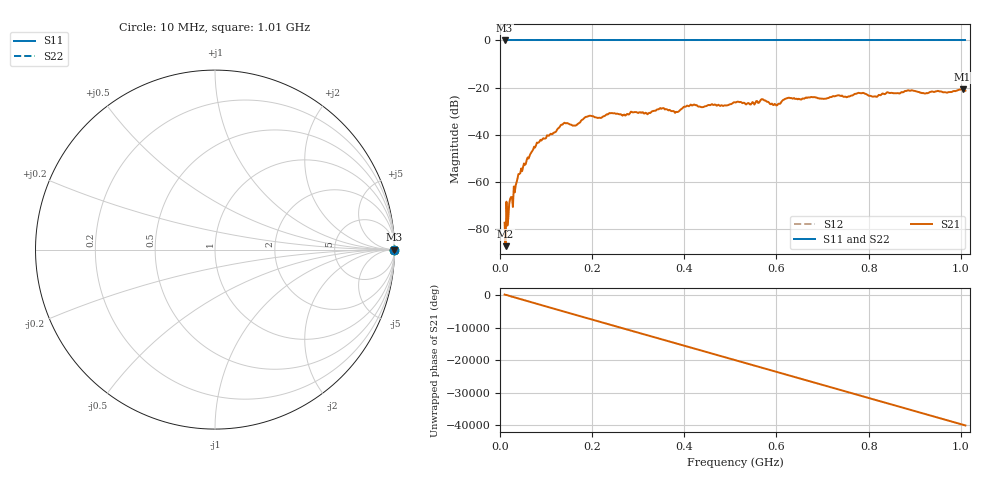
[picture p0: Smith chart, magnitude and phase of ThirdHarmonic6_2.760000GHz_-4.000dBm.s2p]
! 8/17/2025 6:57:24 AM
! C:\ANRITSUVNA\TEMP\TEMP.S2P
! CHANNEL.1
! TR.MEASUREMENT
! RAW.DATA
! RF.CORRECTION.OFF
! AVERAGING.OFF
! IF.BANDWIDTH: 5KHZ
! SWEEPTYPE:  FREQ.SWEEP(Linear)
! Reference Plane Port Info
! PORT:  PORT1  PORT2
! DISTANCE:  0  m  0  m
! TIME:  0  s  0  s
! PHASE.OFFSET:  0  deg.  0  deg.
! LOSS:  0  dB  0  dB
! REF.LOSS:  0  dB  0  dB
! REF.FREQ:  0  Hz  0  Hz
! Power Info
! POWER:  -20  dBm  -20  dBm
! EFF.POWER:  -20  dBm  -20  dBm
! SOURCE.ATTEN:  0  dB  0  dB
! TEST.ATTEN:  0  dB  0  dB
# GHZ S RI R 50.0
! FREQ.GHZ  S11RE  S11IM  S21RE  S21IM  S12RE  S12IM  S22RE  S22IM
!; PortSelection: Port_12
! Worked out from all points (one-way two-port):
!   501 points, 10 MHz to 1.01 GHz, reference 50 ohm
!   highest |S21| = -20.68 dB at 1.004 GHz (marker M1); lowest = -87.1 dB at 12 MHz (marker M2)
!   lowest |S11| = 0.0 dB at 10 MHz (marker M3)
!   |S11| at or under -10 dB: nowhere
!   |S22| runs from 0.0 to 0.0 dB; largest |S21 - S12| = 1.1
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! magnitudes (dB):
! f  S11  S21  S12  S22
! 10 MHz  0.0  -77.2  0.0  0.0
! 12 MHz  0.0  -87.1  0.0  0.0
! 42 MHz  0.0  -56.6  0.0  0.0
! 78 MHz  0.0  -44.5  0.0  0.0
! 136 MHz  0.0  -35.6  0.0  0.0
! 162 MHz  0.0  -36.0  0.0  0.0
! 178 MHz  0.0  -33.6  0.0  0.0
! 194 MHz  0.0  -31.9  0.0  0.0
! 322 MHz  0.0  -30.9  0.0  0.0
! 344 MHz  0.0  -29.2  0.0  0.0
! 384 MHz  0.0  -30.3  0.0  0.0
! 418 MHz  0.0  -27.5  0.0  0.0
! 510 MHz  0.0  -26.2  0.0  0.0
! 570 MHz  0.0  -24.9  0.0  0.0
! 598 MHz  0.0  -27.2  0.0  0.0
! 624 MHz  0.0  -24.4  0.0  0.0
! 678 MHz  0.0  -24.0  0.0  0.0
! 782 MHz  0.0  -22.3  0.0  0.0
! 814 MHz  0.0  -23.6  0.0  0.0
! 844 MHz  0.0  -22.2  0.0  0.0
! 1.004 GHz  0.0  -20.7  0.0  0.0
! 1.01 GHz  0.0  -21.3  0.0  0.0
